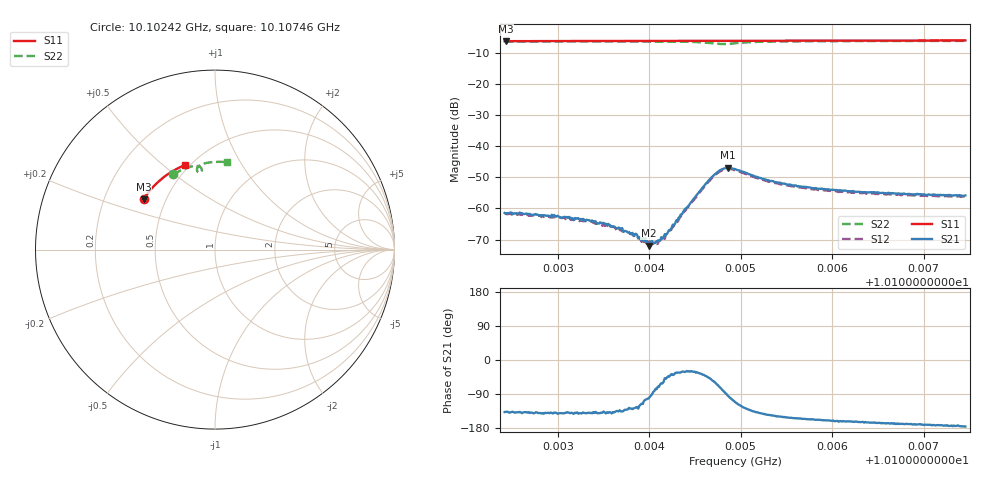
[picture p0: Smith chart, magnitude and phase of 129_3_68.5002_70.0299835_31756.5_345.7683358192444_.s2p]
#  HZ  S  RI  R  50.00
! Rohde & Schwarz Vector Network Analyzer
! Rohde-Schwarz,ZNB20-2Port,1311601062101988,3.16
! Created: UTC 3/20/2024, 4:54:18 PM
! freq[Hz]  re:S11  im:S11  re:S21  im:S21  re:S12  im:S12  re:S22  im:S22
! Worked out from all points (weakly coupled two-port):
!   401 points, 10.10242 GHz to 10.10746 GHz, reference 50 ohm
!   highest |S21| = -46.93 dB at 10.10486 GHz (marker M1); lowest = -72.0 dB at 10.10399 GHz (marker M2)
!   lowest |S11| = -6.3 dB at 10.10243 GHz (marker M3), VSWR 2.90, Z = 18.8 + j13.8 ohm
!   |S11| at or under -10 dB: nowhere
!   |S22| runs from -7.2 to -6.2 dB; largest |S21 - S12| = 0.00046
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1.0102418e10  -0.3978 0.2803  -0.000625 -0.000574  -0.000547 -0.000601  -0.2318 0.4192
1.0102431e10  -0.3972 0.2809  -0.000606 -0.000569  -0.000564 -0.000604  -0.2309 0.4196
1.0103036e10  -0.3763 0.3113  -0.000544 -0.000454  -0.0005 -0.000492  -0.1959 0.439
1.0103262e10  -0.3679 0.3222  -0.000511 -0.000413  -0.000471 -0.00045  -0.1823 0.4454
1.0103489e10  -0.3591 0.333  -0.000443 -0.000383  -0.000364 -0.000381  -0.1678 0.4514
1.0103602e10  -0.3548 0.338  -0.00038 -0.000347  -0.00033 -0.000382  -0.1605 0.4542
1.0103678e10  -0.3518 0.3416  -0.000326 -0.000354  -0.000284 -0.000348  -0.1555 0.4561
1.0103753e10  -0.3485 0.345  -0.00028 -0.000323  -0.000243 -0.000348  -0.1504 0.4578
1.0103842e10  -0.3449 0.3489  -0.00023 -0.000311  -0.000173 -0.000313  -0.1443 0.4597
1.0103993e10  -0.3386 0.3556  -5.07e-05 -0.000247  -1.36e-05 -0.000279  -0.1334 0.4627
1.0104068e10  -0.3355 0.3591  6.78e-05 -0.000271  4.99e-05 -0.000266  -0.1277 0.4641
1.0104106e10  -0.3339 0.3605  0.0001 -0.000289  0.000143 -0.000269  -0.1246 0.4646
1.0104207e10  -0.3295 0.3649  0.00031 -0.000291  0.000322 -0.000279  -0.1165 0.4659
1.0104371e10  -0.3224 0.3719  0.000763 -0.000447  0.000766 -0.000362  -0.1016 0.4663
1.0104673e10  -0.3088 0.3841  0.00196 -0.00235  0.00205 -0.00211  -0.0735 0.4467
1.0104774e10  -0.3043 0.3878  0.00124 -0.00392  0.00152 -0.00362  -0.0786 0.4322
1.0104862e10  -0.3001 0.3913  -0.000374 -0.00449  3.69e-05 -0.00428  -0.0923 0.4306
1.0104937e10  -0.2968 0.3943  -0.00153 -0.00402  -0.00111 -0.00398  -0.0997 0.4391
1.0105315e10  -0.2788 0.4085  -0.00228 -0.00158  -0.00208 -0.00173  -0.0797 0.4721
1.0105781e10  -0.2555 0.4248  -0.00196 -0.00084  -0.0018 -0.000968  -0.0447 0.4833
1.0106625e10  -0.2115 0.4504  -0.00171 -0.000377  -0.0016 -0.000516  0.0127 0.4889
1.0107456e10  -0.1656 0.4712  -0.00161 -0.000129  -0.0015 -0.000278  0.067 0.4868
